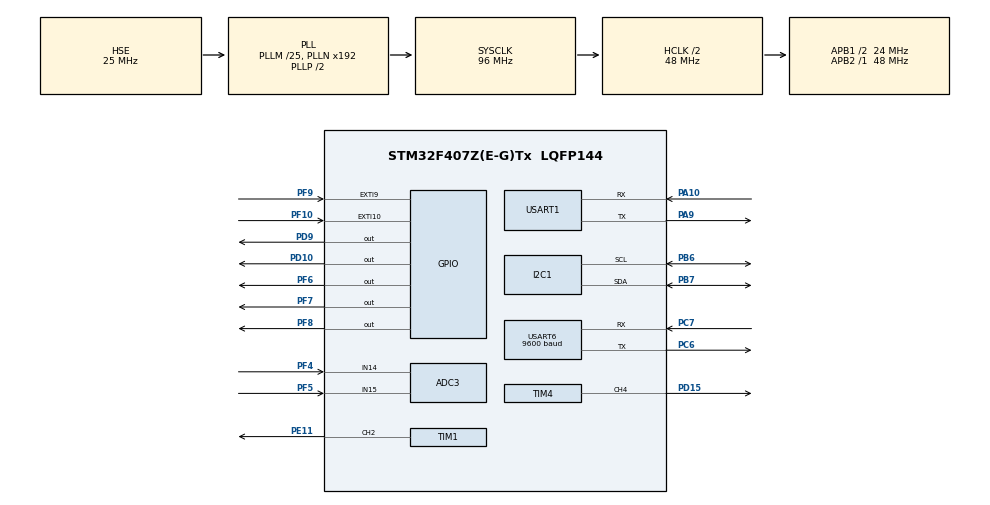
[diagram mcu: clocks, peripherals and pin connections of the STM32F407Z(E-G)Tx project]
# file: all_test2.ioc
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ADC3.Channel-0\#ChannelRegularConversion=ADC_CHANNEL_14
ADC3.Channel-1\#ChannelRegularConversion=ADC_CHANNEL_15
ADC3.DiscontinuousConvMode=ENABLE
ADC3.NbrOfConversion=2
ADC3.NbrOfConversionFlag=1
ADC3.Rank-0\#ChannelRegularConversion=1
ADC3.Rank-1\#ChannelRegularConversion=2
ADC3.SamplingTime-0\#ChannelRegularConversion=ADC_SAMPLETIME_56CYCLES
ADC3.SamplingTime-1\#ChannelRegularConversion=ADC_SAMPLETIME_56CYCLES
ADC3.ScanConvMode=ENABLE
I2C1.I2C_Mode=I2C_Fast
Mcu.Family=STM32F4
Mcu.Name=STM32F407Z(E-G)Tx
Mcu.Package=LQFP144
NVIC.ADC_IRQn=true\:0\:0\:false\:false\:true\:true\:true
NVIC.EXTI15_10_IRQn=true\:0\:0\:false\:false\:true\:true\:true
NVIC.EXTI9_5_IRQn=true\:0\:0\:false\:false\:true\:true\:true
NVIC.I2C1_ER_IRQn=true\:0\:0\:false\:false\:true\:true\:true
NVIC.I2C1_EV_IRQn=true\:0\:0\:false\:false\:true\:true\:true
NVIC.PriorityGroup=NVIC_PRIORITYGROUP_4
NVIC.RCC_IRQn=true\:0\:0\:false\:false\:true\:true\:false
NVIC.TIM1_CC_IRQn=true\:0\:0\:false\:false\:true\:true\:true
NVIC.TIM1_UP_TIM10_IRQn=true\:0\:0\:false\:false\:true\:true\:true
NVIC.TIM4_IRQn=true\:0\:0\:false\:false\:true\:true\:true
NVIC.USART1_IRQn=true\:0\:0\:false\:false\:true\:true\:true
NVIC.USART6_IRQn=true\:0\:0\:false\:false\:true\:true\:true
PA10.Mode=Asynchronous
PA10.Signal=USART1_RX
PA13.Mode=Serial_Wire
PA13.Signal=SYS_JTMS-SWDIO
PA14.Mode=Serial_Wire
PA14.Signal=SYS_JTCK-SWCLK
PA9.Mode=Asynchronous
PA9.Signal=USART1_TX
PB6.Mode=I2C
PB6.Signal=I2C1_SCL
PB7.Mode=I2C
PB7.Signal=I2C1_SDA
PC14-OSC32_IN.Mode=LSE-External-Oscillator
PC14-OSC32_IN.Signal=RCC_OSC32_IN
PC15-OSC32_OUT.Mode=LSE-External-Oscillator
PC15-OSC32_OUT.Signal=RCC_OSC32_OUT
PC6.Mode=Asynchronous
PC6.Signal=USART6_TX
PC7.Mode=Asynchronous
PC7.Signal=USART6_RX
PD10.Signal=GPIO_Output
PD15.Signal=S_TIM4_CH4
PD9.Signal=GPIO_Output
PE11.Signal=S_TIM1_CH2
PF10.GPIO_PuPd=GPIO_PULLUP
PF10.Signal=GPXTI10
PF4.Mode=IN14
PF4.Signal=ADC3_IN14
PF5.Mode=IN15
PF5.Signal=ADC3_IN15
PF6.Signal=GPIO_Output
PF7.Signal=GPIO_Output
PF8.Signal=GPIO_Output
PF9.GPIO_PuPd=GPIO_PULLUP
PF9.Signal=GPXTI9
PH0-OSC_IN.Mode=HSE-External-Oscillator
PH0-OSC_IN.Signal=RCC_OSC_IN
PH1-OSC_OUT.Mode=HSE-External-Oscillator
PH1-OSC_OUT.Signal=RCC_OSC_OUT
ProjectManager.HeapSize=0x200
ProjectManager.StackSize=0x400
ProjectManager.TargetToolchain=TrueSTUDIO
RCC.48MHZClocksFreq_Value=48000000
RCC.AHBCLKDivider=RCC_SYSCLK_DIV2
RCC.AHBFreq_Value=48000000
RCC.APB1CLKDivider=RCC_HCLK_DIV2
RCC.APB1Freq_Value=24000000
RCC.APB1TimFreq_Value=48000000
RCC.APB2Freq_Value=48000000
RCC.APB2TimFreq_Value=48000000
RCC.CortexFreq_Value=48000000
RCC.HCLKFreq_Value=48000000
RCC.HSE_VALUE=25000000
RCC.HSI_VALUE=16000000
RCC.PLLM=25
RCC.PLLSourceVirtual=RCC_PLLSOURCE_HSE
RCC.SYSCLKFreq_VALUE=96000000
RCC.SYSCLKSource=RCC_SYSCLKSOURCE_PLLCLK
RCC.VCOOutputFreq_Value=192000000
SH.S_TIM1_CH2.0=TIM1_CH2,PWM Generation2 CH2
SH.S_TIM4_CH4.0=TIM4_CH4,PWM Generation4 CH4
TIM1.AutoReloadPreload=TIM_AUTORELOAD_PRELOAD_ENABLE
TIM1.Channel-PWM\ Generation2\ CH2=TIM_CHANNEL_2
TIM1.Period=1000
TIM1.Prescaler=48
TIM4.AutoReloadPreload=TIM_AUTORELOAD_PRELOAD_ENABLE
TIM4.Channel-PWM\ Generation4\ CH4=TIM_CHANNEL_4
TIM4.Period=40000
TIM4.Prescaler=24
USART1.VirtualMode=VM_ASYNC
USART6.BaudRate=9600
USART6.VirtualMode=VM_ASYNC
VP_TIM1_VS_ClockSourceINT.Mode=Internal
VP_TIM4_VS_ClockSourceINT.Mode=Internal
board=custom

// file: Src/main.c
/* USER CODE BEGIN Header */
/**
  ******************************************************************************
  * @file           : main.c
  * @brief          : Main program body
  ******************************************************************************
  * @attention
  *
  * <h2><center>&copy; Copyright (c) 2019 STMicroelectronics.
  * All rights reserved.</center></h2>
  *
  * This software component is licensed by ST under BSD 3-Clause license,
  * the "License"; You may not use this file except in compliance with the
  * License. You may obtain a copy of the License at:
  *                        opensource.org/licenses/BSD-3-Clause
  *
  ******************************************************************************
  */
/* USER CODE END Header */

#include "main.h"
#include "adc.h"
#include "i2c.h"
#include "tim.h"
#include "usart.h"
#include "gpio.h"

/* USER CODE BEGIN Includes */
#include "MPU9250.h"
#include <stdio.h>
#include "tm_stm32_ahrs_imu.h"
#include "I2C_1.h"
#include "hcsr04.h"
#include <string.h>

/* USER CODE END Includes */

/* USER CODE BEGIN PM */
#ifdef __GNUC__
/* With GCC/RAISONANCE, small printf (option LD Linker->Libraries->Small printf
   set to 'Yes') calls __io_putchar() */
#define PUTCHAR_PROTOTYPE int __io_putchar(int ch)
#else
#define PUTCHAR_PROTOTYPE int fputc(int ch, FILE *f)
#endif /* __GNUC__ */

#define UART_RXBUFFERSIZE     100
/* USER CODE END PM */

/* USER CODE BEGIN PV */
uint8_t adcIndex=0;
uint16_t adcval[2];
MPU9250_t MPU9250;
float filtered_Az;
TM_AHRSIMU_t IMU;
TM_HCSR04_t hcsr04;
uint32_t hcsr04_distance;
int voice_key;

uint8_t g_Uart_RxBuffer[UART_RXBUFFERSIZE];
uint8_t g_Uart_6_Com_RxBuffer[UART_RXBUFFERSIZE];

/* USER CODE END PV */

void SystemClock_Config(void);
/* USER CODE BEGIN PFP */
PUTCHAR_PROTOTYPE
{
    /* Place your implementation of fputc here */
    /* e.g. write a character to the Debug USART and Loop until the end of transmission */

    if('\n' == ch)
    {
        int ch_tmp = '\r';

        /* Place your implementation of fputc here */
        /* e.g. write a character to the EVAL_COM1 and Loop until the end of transmission */
        HAL_UART_Transmit(&huart1, (uint8_t *)&ch_tmp, 1, 0xFFFF);
    }

    /* Place your implementation of fputc here */
    /* e.g. write a character to the EVAL_COM1 and Loop until the end of transmission */
    HAL_UART_Transmit(&huart1, (uint8_t *)&ch, 1, 0xFFFF);

    return ch;
}

int on_off()
{
	if(bt==1)
	{
		return 1;
	}
	else
	{
		return 0;
	}
	}

void HAL_GPIO_EXTI_Callback(uint16_t GPIO_Pin)
{
  /* Prevent unused argument(s) compilation warning */
	//gyro^=1;
  /* NOTE: This function Should not be modified, when the callback is needed,
           the HAL_GPIO_EXTI_Callback could be implemented in the user file
   */
}

void HAL_ADC_ConvCpltCallback(ADC_HandleTypeDef* hadc)
{
  /* Prevent unused argument(s) compilation warning */

  /* NOTE : This function Should not be modified, when the callback is needed,
            the HAL_ADC_ConvCpltCallback could be implemented in the user file
   */
if(!bt)
{
	  adcval[adcIndex]=HAL_ADC_GetValue(&hadc3);

	  if(adcIndex == 1)
	  {
		  TIM4->CCR4=2600+(((uint16_t)adcval[0])/3);
		  //printf("%d\n",((uint16_t)adcval[0])/3);
		  if(adcval[1]<1900) //������
		  {
			  HAL_GPIO_WritePin(GPIOD,GPIO_PIN_10,1);
			  TIM1->CCR2=400;
		  }
		  if(adcval[1]>2200) //�ڷ�
		  {
			  HAL_GPIO_WritePin(GPIOD,GPIO_PIN_10,0);
			  TIM1->CCR2=400;
		  }
		  if((adcval[1]>=1900) && (adcval[1]<=2200))
		  {
			  TIM1->CCR2=0;
		  }
		  //printf("%d\n",adcval[1]);
		  //printf("test\n");
	  }
	  adcIndex++;
	  if(adcIndex > 1)
	  {
		  adcIndex=0;

	  }
}
	  HAL_ADC_Start_IT(&hadc3);
}
/* USER CODE END PFP */

int main(void)
{
  /* USER CODE BEGIN 1 */
	gyro=1;
	bt=0;
	voice_key=3;
  /* USER CODE END 1 */

  /* MCU Configuration--------------------------------------------------------*/

  /* Reset of all peripherals, Initializes the Flash interface and the Systick. */
  HAL_Init();

  /* Configure the system clock */
  SystemClock_Config();

  /* Initialize all configured peripherals */
  MX_GPIO_Init();
  MX_I2C1_Init();
  MX_TIM1_Init();
  MX_TIM4_Init();
  MX_USART1_UART_Init();
  MX_ADC3_Init();
  MX_USART6_UART_Init();
  /* USER CODE BEGIN 2 */
  printf("Start\n");

  	if (MPU9250_Init(&hi2c1, &MPU9250, MPU9250_Device_0) != MPU9250_Result_Ok) {
    printf("Device error!\r\n");}
  	TM_AHRSIMU_Init(&IMU, 1000, 0.5, 0);
  	if(TM_HCSR04_Init(&hcsr04, GPIOE,GPIO_PIN_15, GPIOE,GPIO_PIN_14 )!=1)
  	{
  		printf("hc error!\r\n");
  	}

    HAL_TIM_PWM_Start(&htim1,TIM_CHANNEL_2);
    HAL_TIM_PWM_Start_IT(&htim1,TIM_CHANNEL_2);
    HAL_TIM_PWM_Start(&htim4,TIM_CHANNEL_4);
    HAL_TIM_PWM_Start_IT(&htim4,TIM_CHANNEL_4);
    HAL_GPIO_WritePin(GPIOD,GPIO_PIN_9,0);
    HAL_ADC_Start_IT(&hadc3);

    HAL_GPIO_WritePin(GPIOE, GPIO_PIN_5, GPIO_PIN_SET);
    HAL_GPIO_WritePin(GPIOG, GPIO_PIN_8, GPIO_PIN_SET);

    printf("printf test\n");
    HAL_UART_Transmit(&huart6, (uint8_t *)"test", strlen("test"), 0xFFFF);
  /* USER CODE END 2 */

  /* Infinite loop */
  /* USER CODE BEGIN WHILE */
  while (1)
  {

	  if (MPU9250_DataReady(&hi2c1, &MPU9250) == MPU9250_Result_Ok) {
	  	  				MPU9250_ReadAcce(&hi2c1, &MPU9250);
	  	          MPU9250_ReadGyro(&hi2c1, &MPU9250);
	  	          MPU9250_ReadMag(&hi2c1, &MPU9250);
	  	  		}
	  	  TM_AHRSIMU_UpdateIMU(&IMU, MPU9250.Gx, MPU9250.Gy, MPU9250.Gz, MPU9250.Ax, MPU9250.Ay, MPU9250.Az);
	  	TM_HCSR04_Read(&hcsr04);
	  	if(hcsr04.Distance<5)
	  	{
	  		HAL_GPIO_WritePin(GPIOD,GPIO_PIN_9,1);
	  	}
	  	if(hcsr04.Distance>=5)
	  	{
	  		HAL_GPIO_WritePin(GPIOD,GPIO_PIN_9,0);
	  	}
	  	if(on_off())
	  	{
	  		if(hcsr04.Distance<1)
	  		{
	  			HAL_GPIO_WritePin(GPIOD,GPIO_PIN_9,1);
	  		}
	  		if(hcsr04.Distance>=1)
	  		{
	  			HAL_GPIO_WritePin(GPIOD,GPIO_PIN_9,0);
	  		}
	  		if(gyro==1)
	  		{
	  			if(IMU.Pitch>25)
	  			{
	  				TIM4->CCR4=3250+((int8_t)IMU.Pitch*15*-1);
	  				//TIM1->CCR2=500;
	  				HAL_GPIO_WritePin(GPIOF,GPIO_PIN_6,1);
	  				//HAL_GPIO_WritePin(GPIOD,GPIO_PIN_10,0);
	  			}
	  			else if(IMU.Pitch<-25)
	  			{
	  				TIM4->CCR4=3250+((int8_t)IMU.Pitch*15*-1);
	  				//TIM1->CCR2= 500;
	  				HAL_GPIO_WritePin(GPIOF,GPIO_PIN_6,0);
	  				//HAL_GPIO_WritePin(GPIOD,GPIO_PIN_10,1);
	  			}
	  			//else if(IMU.Pitch>=20 && IMU.Pitch<=-20)
	  			else
	  			{
	  				TIM4->CCR4=3250;
	  				TIM1->CCR2=0;
	  				HAL_GPIO_WritePin(GPIOF, GPIO_PIN_7, GPIO_PIN_SET);
	  			}

	  			if(IMU.Roll <150 && IMU.Roll>90)
	  			{
	  				TIM1->CCR2=400;
	  				HAL_GPIO_WritePin(GPIOF,GPIO_PIN_7,1);
	  				HAL_GPIO_WritePin(GPIOD,GPIO_PIN_10,1);
	  			}
	  			if(IMU.Roll > -150 && IMU.Roll <-90)
	  			{
	  				TIM1->CCR2= 400;
	  				HAL_GPIO_WritePin(GPIOF,GPIO_PIN_7,0);
	  				HAL_GPIO_WritePin(GPIOD,GPIO_PIN_10,0);
	  			}
	  		}
	  		if(gyro==0)
	  		{
	  			TIM1->CCR2=0;
	  			if(voice_key==1)
	  			{
	  				TIM4->CCR4=3250;
	  				HAL_GPIO_WritePin(GPIOD,GPIO_PIN_9,0);
	  				HAL_GPIO_WritePin(GPIOD,GPIO_PIN_10,1);
	  				TIM1->CCR2=400;
	  				HAL_Delay(1800);
	  				HAL_GPIO_WritePin(GPIOD,GPIO_PIN_9,1);
	  			}
	  			if(voice_key==2)
	  			{
	  				TIM4->CCR4=3250;
	  				HAL_GPIO_WritePin(GPIOD,GPIO_PIN_9,0);
	  				HAL_GPIO_WritePin(GPIOD,GPIO_PIN_10,0);
	  				TIM1->CCR2=400;
	  				HAL_Delay(5000);
	  				HAL_GPIO_WritePin(GPIOD,GPIO_PIN_9,1);
	  			}
	  			if(voice_key==3)
	  			{
	  				TIM4->CCR4=3250+880;
	  				HAL_GPIO_WritePin(GPIOD,GPIO_PIN_9,0);
	  				HAL_GPIO_WritePin(GPIOD,GPIO_PIN_10,1);
	  				TIM1->CCR2=400;
	  				HAL_Delay(3500);
	  				HAL_GPIO_WritePin(GPIOD,GPIO_PIN_9,1);

	  			}
	  			if(voice_key==4)
	  			{
	  				TIM4->CCR4=3250-880;
	  				HAL_GPIO_WritePin(GPIOD,GPIO_PIN_9,0);
	  				HAL_GPIO_WritePin(GPIOD,GPIO_PIN_10,1);
	  				TIM1->CCR2=400;
	  				HAL_Delay(3500);
	  				HAL_GPIO_WritePin(GPIOD,GPIO_PIN_9,1);

	  			}
	  			gyro=1;

	  		}
	  	}
	#if 0
	if(IMU.Roll <150 && IMU.Roll>90)
	{
		TIM1->CCR2=400;
	    HAL_GPIO_WritePin(GPIOF,GPIO_PIN_7,1);
		HAL_GPIO_WritePin(GPIOD,GPIO_PIN_10,1);
	}
	if(IMU.Roll > -150 && IMU.Roll <-90)
	{
		TIM1->CCR2= 500;
		HAL_GPIO_WritePin(GPIOF,GPIO_PIN_7,0);
	    HAL_GPIO_WritePin(GPIOD,GPIO_PIN_10,0);
	}
	#endif
#if 0
	  	 // printf("R: %.0f, P: %.0f, Y: %.0f\n", IMU.Roll, IMU.Pitch, IMU.Yaw);
	  	 // printf("%f\n",hcsr04.Distance);
#endif
    /* USER CODE END WHILE */

  }
}

void SystemClock_Config(void)
{
  RCC_OscInitTypeDef RCC_OscInitStruct = {0};
  RCC_ClkInitTypeDef RCC_ClkInitStruct = {0};

  /** Configure the main internal regulator output voltage
  */
  __HAL_RCC_PWR_CLK_ENABLE();
  __HAL_PWR_VOLTAGESCALING_CONFIG(PWR_REGULATOR_VOLTAGE_SCALE1);
  /** Initializes the CPU, AHB and APB busses clocks
  */
  RCC_OscInitStruct.OscillatorType = RCC_OSCILLATORTYPE_HSE;
  RCC_OscInitStruct.HSEState = RCC_HSE_ON;
  RCC_OscInitStruct.PLL.PLLState = RCC_PLL_ON;
  RCC_OscInitStruct.PLL.PLLSource = RCC_PLLSOURCE_HSE;
  RCC_OscInitStruct.PLL.PLLM = 25;
  RCC_OscInitStruct.PLL.PLLN = 192;
  RCC_OscInitStruct.PLL.PLLP = RCC_PLLP_DIV2;
  RCC_OscInitStruct.PLL.PLLQ = 4;
  if (HAL_RCC_OscConfig(&RCC_OscInitStruct) != HAL_OK)
  {
    Error_Handler();
  }
  /** Initializes the CPU, AHB and APB busses clocks
  */
  RCC_ClkInitStruct.ClockType = RCC_CLOCKTYPE_HCLK|RCC_CLOCKTYPE_SYSCLK
                              |RCC_CLOCKTYPE_PCLK1|RCC_CLOCKTYPE_PCLK2;
  RCC_ClkInitStruct.SYSCLKSource = RCC_SYSCLKSOURCE_PLLCLK;
  RCC_ClkInitStruct.AHBCLKDivider = RCC_SYSCLK_DIV2;
  RCC_ClkInitStruct.APB1CLKDivider = RCC_HCLK_DIV2;
  RCC_ClkInitStruct.APB2CLKDivider = RCC_HCLK_DIV1;

  if (HAL_RCC_ClockConfig(&RCC_ClkInitStruct, FLASH_LATENCY_1) != HAL_OK)
  {
    Error_Handler();
  }
}

void Error_Handler(void)
{
}

/************************ (C) COPYRIGHT STMicroelectronics *****END OF FILE****/
